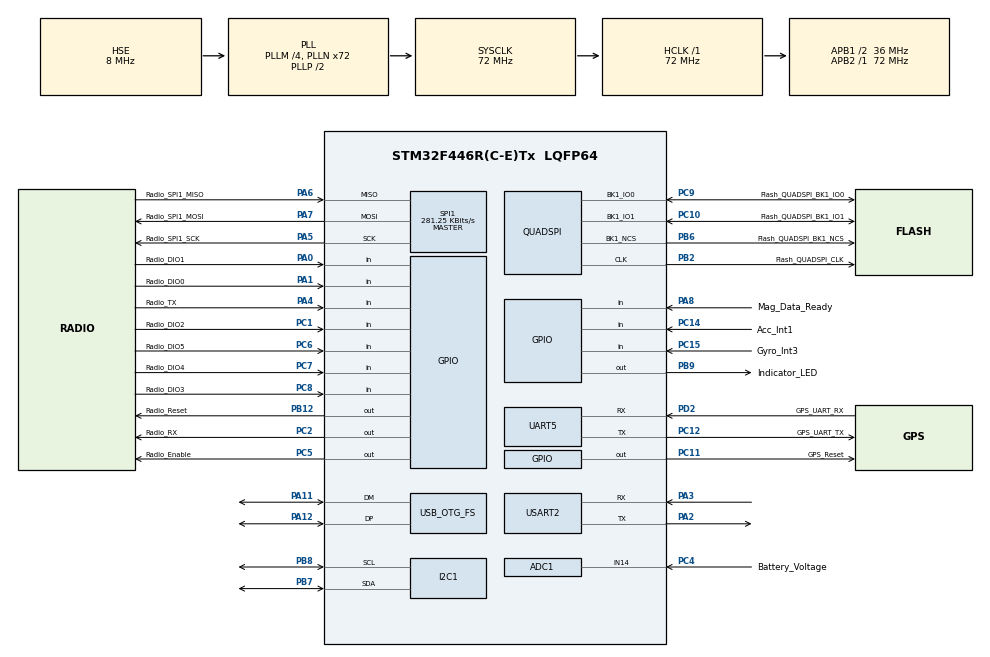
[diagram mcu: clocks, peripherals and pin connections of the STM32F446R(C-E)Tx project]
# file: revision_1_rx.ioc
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ADC1.Channel-0\#ChannelRegularConversion=ADC_CHANNEL_14
ADC1.NbrOfConversionFlag=1
ADC1.Rank-0\#ChannelRegularConversion=1
ADC1.SamplingTime-0\#ChannelRegularConversion=ADC_SAMPLETIME_3CYCLES
ADC1.master=1
Mcu.Family=STM32F4
Mcu.Name=STM32F446R(C-E)Tx
Mcu.Package=LQFP64
NVIC.OTG_FS_IRQn=true\:0\:0\:false\:false\:true\:false\:true\:true
NVIC.PriorityGroup=NVIC_PRIORITYGROUP_4
PA0-WKUP.GPIO_Label=Radio_DIO1
PA0-WKUP.Signal=GPIO_Input
PA1.GPIO_Label=Radio_DIO0
PA1.Signal=GPIO_Input
PA11.Mode=Device_Only
PA11.Signal=USB_OTG_FS_DM
PA12.Mode=Device_Only
PA12.Signal=USB_OTG_FS_DP
PA13.Mode=Trace_Asynchronous_SW
PA13.Signal=SYS_JTMS-SWDIO
PA14.Mode=Trace_Asynchronous_SW
PA14.Signal=SYS_JTCK-SWCLK
PA2.Mode=Asynchronous
PA2.Signal=USART2_TX
PA3.Mode=Asynchronous
PA3.Signal=USART2_RX
PA4.GPIO_Label=Radio_TX
PA4.Signal=GPIO_Input
PA5.GPIO_Label=Radio_SPI1_SCK
PA5.Mode=Full_Duplex_Master
PA5.Signal=SPI1_SCK
PA6.GPIO_Label=Radio_SPI1_MISO
PA6.Mode=Full_Duplex_Master
PA6.Signal=SPI1_MISO
PA7.GPIO_Label=Radio_SPI1_MOSI
PA7.Mode=Full_Duplex_Master
PA7.Signal=SPI1_MOSI
PA8.GPIO_Label=Mag_Data_Ready
PA8.Signal=GPIO_Input
PB12.GPIO_Label=Radio_Reset
PB12.Signal=GPIO_Output
PB2.GPIO_Label=Flash_QUADSPI_CLK
PB2.Mode=Single Bank 1 2IOs
PB2.Signal=QUADSPI_CLK
PB3.Mode=Trace_Asynchronous_SW
PB3.Signal=SYS_JTDO-SWO
PB6.GPIO_Label=Flash_QUADSPI_BK1_NCS
PB6.Mode=Single Bank 1 2IOs
PB6.Signal=QUADSPI_BK1_NCS
PB7.Mode=I2C
PB7.Signal=I2C1_SDA
PB8.Mode=I2C
PB8.Signal=I2C1_SCL
PB9.GPIO_Label=Indicator_LED
PB9.Signal=GPIO_Output
PC1.GPIO_Label=Radio_DIO2
PC1.Signal=GPIO_Input
PC10.GPIO_Label=Flash_QUADSPI_BK1_IO1
PC10.Mode=Single Bank 1 2IOs
PC10.Signal=QUADSPI_BK1_IO1
PC11.GPIO_Label=GPS_Reset
PC11.Signal=GPIO_Output
PC12.GPIO_Label=GPS_UART_TX
PC12.Mode=Asynchronous
PC12.Signal=UART5_TX
PC14-OSC32_IN.GPIO_Label=Acc_Int1
PC14-OSC32_IN.Signal=GPIO_Input
PC15-OSC32_OUT.GPIO_Label=Gyro_Int3
PC15-OSC32_OUT.Signal=GPIO_Input
PC2.GPIO_Label=Radio_RX
PC2.Signal=GPIO_Output
PC4.GPIO_Label=Battery_Voltage
PC4.Signal=ADCx_IN14
PC5.GPIO_Label=Radio_Enable
PC5.GPIO_PuPd=GPIO_NOPULL
PC5.PinState=GPIO_PIN_RESET
PC5.Signal=GPIO_Output
PC6.GPIO_Label=Radio_DIO5
PC6.Signal=GPIO_Input
PC7.GPIO_Label=Radio_DIO4
PC7.Signal=GPIO_Input
PC8.GPIO_Label=Radio_DIO3
PC8.Signal=GPIO_Input
PC9.GPIO_Label=Flash_QUADSPI_BK1_IO0
PC9.Mode=Single Bank 1 2IOs
PC9.Signal=QUADSPI_BK1_IO0
PD2.GPIO_Label=GPS_UART_RX
PD2.Mode=Asynchronous
PD2.Signal=UART5_RX
PH0-OSC_IN.Mode=HSE-External-Oscillator
PH0-OSC_IN.Signal=RCC_OSC_IN
PH1-OSC_OUT.Mode=HSE-External-Oscillator
PH1-OSC_OUT.Signal=RCC_OSC_OUT
ProjectManager.HeapSize=0x200
ProjectManager.StackSize=0x400
ProjectManager.TargetToolchain=STM32CubeIDE
QUADSPI.FifoThreshold=1
QUADSPI.FlashSize=24
RCC.AHBFreq_Value=72000000
RCC.APB1CLKDivider=RCC_HCLK_DIV2
RCC.APB1Freq_Value=36000000
RCC.APB1TimFreq_Value=72000000
RCC.APB2Freq_Value=72000000
RCC.APB2TimFreq_Value=72000000
RCC.CortexFreq_Value=72000000
RCC.HCLKFreq_Value=72000000
RCC.HSE_VALUE=8000000
RCC.PLLM=4
RCC.PLLN=72
RCC.PLLQ=3
RCC.PLLSourceVirtual=RCC_PLLSOURCE_HSE
RCC.SYSCLKFreq_VALUE=72000000
RCC.SYSCLKSource=RCC_SYSCLKSOURCE_PLLCLK
RCC.USBFreq_Value=48000000
RCC.VCOOutputFreq_Value=144000000
SH.ADCx_IN14.0=ADC1_IN14,IN14
SPI1.BaudRatePrescaler=SPI_BAUDRATEPRESCALER_256
SPI1.CalculateBaudRate=281.25 KBits/s
SPI1.Direction=SPI_DIRECTION_2LINES
SPI1.Mode=SPI_MODE_MASTER
SPI1.VirtualType=VM_MASTER
UART5.VirtualMode=Asynchronous
USART2.VirtualMode=VM_ASYNC
USB_DEVICE.CLASS_NAME_FS=CDC
USB_DEVICE.VirtualMode-CDC_FS=Cdc
USB_DEVICE.VirtualModeFS=Cdc_FS
USB_OTG_FS.VirtualMode=Device_Only
VP_USB_DEVICE_VS_USB_DEVICE_CDC_FS.Mode=CDC_FS
board=custom

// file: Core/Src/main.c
/* USER CODE BEGIN Header */
/**
  ******************************************************************************
  * @file           : main.c
  * @brief          : Main program body
  ******************************************************************************
  * @attention
  *
  * Copyright (c) 2023 STMicroelectronics.
  * All rights reserved.
  *
  * This software is licensed under terms that can be found in the LICENSE file
  * in the root directory of this software component.
  * If no LICENSE file comes with this software, it is provided AS-IS.
  *
  ******************************************************************************
  */
/* USER CODE END Header */
#include "main.h"
#include "usb_device.h"

/* USER CODE BEGIN Includes */
#include "stdio.h"
#include "stdlib.h"
#include "stdint.h"
#include "usbd_cdc_if.h"
#include "sx1272.h"
/* USER CODE END Includes */

ADC_HandleTypeDef hadc1;

I2C_HandleTypeDef hi2c1;

QSPI_HandleTypeDef hqspi;

SPI_HandleTypeDef hspi1;

UART_HandleTypeDef huart5;
UART_HandleTypeDef huart2;

void SystemClock_Config(void);
static void MX_GPIO_Init(void);
static void MX_QUADSPI_Init(void);
static void MX_I2C1_Init(void);
static void MX_SPI1_Init(void);
static void MX_ADC1_Init(void);
static void MX_UART5_Init(void);
static void MX_USART2_UART_Init(void);

/* USER CODE BEGIN 0 */
sx1272_t sx;
sx_gpio_t sx_cs_gpio, sx_tx_gpio, sx_rx_gpio;
uint8_t buf[256] = {};
int _write(int32_t file, uint8_t *ptr, int32_t len)
{
    for (int i = 0; i < len; i++)
    {
        ITM_SendChar(*ptr++);
    }
    return len;
}
/* USER CODE END 0 */

int main(void)
{

  /* MCU Configuration--------------------------------------------------------*/

  /* Reset of all peripherals, Initializes the Flash interface and the Systick. */
  HAL_Init();

  /* Configure the system clock */
  SystemClock_Config();

  /* Initialize all configured peripherals */
  MX_GPIO_Init();
  MX_QUADSPI_Init();
  MX_I2C1_Init();
  MX_SPI1_Init();
  MX_ADC1_Init();
  MX_UART5_Init();
  MX_USB_DEVICE_Init();
  MX_USART2_UART_Init();
  /* USER CODE BEGIN 2 */

	//HAL_GPIO_WritePin(Radio_Enable_GPIO_Port, Radio_Enable_Pin, SET);
  sx_cs_gpio = (sx_gpio_t) {
		.port = Radio_Enable_GPIO_Port,
		.pin = Radio_Enable_Pin,
	};

	sx_tx_gpio = (sx_gpio_t) {
		.port = Radio_TX_GPIO_Port,
		.pin = Radio_TX_Pin,
	};

	sx_rx_gpio = (sx_gpio_t) {
		.port = Radio_RX_GPIO_Port,
		.pin = Radio_RX_Pin,
	};

	// Init device structure

	sx = (sx1272_t) {
			.spi = &hspi1,
			.cs_gpio = &sx_cs_gpio,
			.tx_gpio = &sx_tx_gpio,
			.rx_gpio = &sx_rx_gpio,
			.packet_length = 16,
	};

	/*printf("tx (1), rx (2), tx_no_crc (3), echo_src (4), echo_wall (5) ? ");
	fflush(stdout);*/
	int status = sx1272_common_init(&sx, false);
  /* USER CODE END 2 */

  /* Infinite loop */
  /* USER CODE BEGIN WHILE */
  char test_message1[50];
  char test_message2[50];
  char test_message3[50];
  char test_message4[50];
  char uart_buffer[100]; //Data to send
  while (1)
  {
    /* USER CODE END WHILE */

    /* USER CODE BEGIN 3 */

//	// Buzzer ON
//	HAL_GPIO_WritePin(GPIOA, GPIO_PIN_3, GPIO_PIN_SET);
//	HAL_Delay(1);
//	// Buzzer OFF
//	HAL_GPIO_WritePin(GPIOA, GPIO_PIN_3, GPIO_PIN_RESET);
//	HAL_Delay(1);
	int ret = sx1272_receive_continuous(&sx, buf, true);

	//HAL_GPIO_WritePin(LD2_GPIO_Port, LD2_Pin, 0);
	//sprintf(test_message1, "RX status: %d\r\n", ret);
	//CDC_Transmit_FS((uint8_t*) test_message1, strlen(test_message1));
	//printf("RX status: %d\r\n", ret);
	sprintf(uart_buffer, "RX status: %d\r\n", ret);
	HAL_UART_Transmit(&huart2, (uint8_t*) uart_buffer,strlen(uart_buffer),10);// Sending in normal mode

	sprintf(uart_buffer, "BUF 0: %d\r\n", ret);
	HAL_UART_Transmit(&huart2, (uint8_t*) uart_buffer,strlen(uart_buffer),10);// Sending in normal mode

//	printf("Counter: %x\n\r", counter);
//	printf("Latitude: %x (%f)\n\r", latitude, latitudeFloat);
//	printf("Longitude: %x (%f)\n\r", longitude, longitudeFloat);
//	printf("Datetime: %x (%f)\n\r", datetime, datetimeFloat);
	//sprintf(uart_buffer, "ID: %x\r\n", buf[0]);
	//HAL_UART_Transmit(&huart2, (uint8_t*) uart_buffer,strlen(uart_buffer),10);// Sending in normal mode
	if (buf[0] == 0x10){

	unsigned int latitude = (buf[7] << 24) | (buf[6] << 16) | (buf[5] << 8) | buf[4];
	unsigned int longitude = (buf[11] << 24) | (buf[10] << 16) | (buf[9] << 8) | buf[8];
	unsigned int datetime = (buf[15] << 24) | (buf[14] << 16) | (buf[13] << 8) | buf[12];
	float latitudeFloat = *(float*)&latitude;
	float longitudeFloat = *(float*)&longitude;
	float datetimeFloat = *(float*)&datetime;

	sprintf(uart_buffer, "Latitude: %f\r\n", latitudeFloat);
	HAL_UART_Transmit(&huart2, (uint8_t*) uart_buffer,strlen(uart_buffer),10);// Sending in normal mode
	sprintf(uart_buffer, "Longitude: %f\r\n", longitudeFloat);
	HAL_UART_Transmit(&huart2, (uint8_t*) uart_buffer,strlen(uart_buffer),10);// Sending in normal mode
	sprintf(uart_buffer, "Datetime: %f\r\n", datetimeFloat);
	HAL_UART_Transmit(&huart2, (uint8_t*) uart_buffer,strlen(uart_buffer),10);// Sending in normal mode
	}
	else if (buf[0] == 0x20) {

	unsigned int temperature = (buf[7] << 24) | (buf[6] << 16) | (buf[5] << 8) | buf[4];
	unsigned int humidity = (buf[11] << 24) | (buf[10] << 16) | (buf[9] << 8) | buf[8];
	unsigned int pressure = (buf[15] << 24) | (buf[14] << 16) | (buf[13] << 8) | buf[12];
	float temperatureFloat = *(float*)&temperature;
	float humidityFloat = *(float*)&humidity;
	float pressureFloat = *(float*)&pressure;

	sprintf(uart_buffer, "Temperature: %f\r\n", temperatureFloat);
	HAL_UART_Transmit(&huart2, (uint8_t*) uart_buffer,strlen(uart_buffer),10);// Sending in normal mode
	sprintf(uart_buffer, "Humidity: %f\r\n", humidityFloat);
	HAL_UART_Transmit(&huart2, (uint8_t*) uart_buffer,strlen(uart_buffer),10);// Sending in normal mode
	sprintf(uart_buffer, "Pressure: %f\r\n", pressureFloat);
	HAL_UART_Transmit(&huart2, (uint8_t*) uart_buffer,strlen(uart_buffer),10);// Sending in normal mode
	}
	else if (buf[0] == 0x30) {

	unsigned int ax = (buf[7] << 24) | (buf[6] << 16) | (buf[5] << 8) | buf[4];
	unsigned int ay = (buf[11] << 24) | (buf[10] << 16) | (buf[9] << 8) | buf[8];
	unsigned int az = (buf[15] << 24) | (buf[14] << 16) | (buf[13] << 8) | buf[12];

	float axFloat = *(float*)&ax;
	float ayFloat = *(float*)&ay;
	float azFloat = *(float*)&az;

	sprintf(uart_buffer, "Ax: %f\r\n", axFloat);
	HAL_UART_Transmit(&huart2, (uint8_t*) uart_buffer,strlen(uart_buffer),10);
	sprintf(uart_buffer, "Ay: %f\r\n", ayFloat);
	HAL_UART_Transmit(&huart2, (uint8_t*) uart_buffer,strlen(uart_buffer),10);
	sprintf(uart_buffer, "Az: %f\r\n", azFloat);
	HAL_UART_Transmit(&huart2, (uint8_t*) uart_buffer,strlen(uart_buffer),10);
	}
	else if (buf[0] == 0x40) {

	unsigned int gx = (buf[7] << 24) | (buf[6] << 16) | (buf[5] << 8) | buf[4];
	unsigned int gy = (buf[11] << 24) | (buf[10] << 16) | (buf[9] << 8) | buf[8];
	unsigned int gz = (buf[15] << 24) | (buf[14] << 16) | (buf[13] << 8) | buf[12];

	float gxFloat = *(float*)&gx;
	float gyFloat = *(float*)&gy;
	float gzFloat = *(float*)&gz;

	sprintf(uart_buffer, "Gx: %f\r\n", gxFloat);
	HAL_UART_Transmit(&huart2, (uint8_t*) uart_buffer,strlen(uart_buffer),10);
	sprintf(uart_buffer, "Gy: %f\r\n", gyFloat);
	HAL_UART_Transmit(&huart2, (uint8_t*) uart_buffer,strlen(uart_buffer),10);
	sprintf(uart_buffer, "Gz: %f\r\n", gzFloat);
	HAL_UART_Transmit(&huart2, (uint8_t*) uart_buffer,strlen(uart_buffer),10);
	}
	//sprintf(test_message2, "Counter");
	//CDC_Transmit_FS((uint8_t*) test_message2, strlen(test_message2));

	int current_rssi = sx1272_current_rssi(&sx);
	int current_snr = sx1272_packet_snr(&sx);

//	sprintf(test_message3, "RSSI: %d\n\r", current_rssi);
//	CDC_Transmit_FS((uint8_t*) test_message3, strlen(test_message3));
//	sprintf(test_message4, "SNR: %d\n\r", current_snr);
//	CDC_Transmit_FS((uint8_t*) test_message4, strlen(test_message4));

	//printf("RSSI: %d\n\r", current_rssi);
	//printf("SNR: %d\n\r", current_snr);

	sprintf(uart_buffer, "RSSI: %d\r\n", current_rssi);
	HAL_UART_Transmit(&huart2, (uint8_t*) uart_buffer,strlen(uart_buffer),10);// Sending in normal mode
	sprintf(uart_buffer, "SNR: %d\r\n", current_snr);
	HAL_UART_Transmit(&huart2, (uint8_t*) uart_buffer,strlen(uart_buffer),10);// Sending in normal mode

	memset(buf, 0, 16);
	HAL_Delay(100);
  }
  /* USER CODE END 3 */
}

void SystemClock_Config(void)
{
  RCC_OscInitTypeDef RCC_OscInitStruct = {0};
  RCC_ClkInitTypeDef RCC_ClkInitStruct = {0};

  /** Configure the main internal regulator output voltage
  */
  __HAL_RCC_PWR_CLK_ENABLE();
  __HAL_PWR_VOLTAGESCALING_CONFIG(PWR_REGULATOR_VOLTAGE_SCALE3);

  /** Initializes the RCC Oscillators according to the specified parameters
  * in the RCC_OscInitTypeDef structure.
  */
  RCC_OscInitStruct.OscillatorType = RCC_OSCILLATORTYPE_HSE;
  RCC_OscInitStruct.HSEState = RCC_HSE_ON;
  RCC_OscInitStruct.PLL.PLLState = RCC_PLL_ON;
  RCC_OscInitStruct.PLL.PLLSource = RCC_PLLSOURCE_HSE;
  RCC_OscInitStruct.PLL.PLLM = 4;
  RCC_OscInitStruct.PLL.PLLN = 72;
  RCC_OscInitStruct.PLL.PLLP = RCC_PLLP_DIV2;
  RCC_OscInitStruct.PLL.PLLQ = 3;
  RCC_OscInitStruct.PLL.PLLR = 2;
  if (HAL_RCC_OscConfig(&RCC_OscInitStruct) != HAL_OK)
  {
    Error_Handler();
  }

  /** Initializes the CPU, AHB and APB buses clocks
  */
  RCC_ClkInitStruct.ClockType = RCC_CLOCKTYPE_HCLK|RCC_CLOCKTYPE_SYSCLK
                              |RCC_CLOCKTYPE_PCLK1|RCC_CLOCKTYPE_PCLK2;
  RCC_ClkInitStruct.SYSCLKSource = RCC_SYSCLKSOURCE_PLLCLK;
  RCC_ClkInitStruct.AHBCLKDivider = RCC_SYSCLK_DIV1;
  RCC_ClkInitStruct.APB1CLKDivider = RCC_HCLK_DIV2;
  RCC_ClkInitStruct.APB2CLKDivider = RCC_HCLK_DIV1;

  if (HAL_RCC_ClockConfig(&RCC_ClkInitStruct, FLASH_LATENCY_2) != HAL_OK)
  {
    Error_Handler();
  }
}

static void MX_ADC1_Init(void)
{

  ADC_ChannelConfTypeDef sConfig = {0};

  /** Configure the global features of the ADC (Clock, Resolution, Data Alignment and number of conversion)
  */
  hadc1.Instance = ADC1;
  hadc1.Init.ClockPrescaler = ADC_CLOCK_SYNC_PCLK_DIV2;
  hadc1.Init.Resolution = ADC_RESOLUTION_12B;
  hadc1.Init.ScanConvMode = DISABLE;
  hadc1.Init.ContinuousConvMode = DISABLE;
  hadc1.Init.DiscontinuousConvMode = DISABLE;
  hadc1.Init.ExternalTrigConvEdge = ADC_EXTERNALTRIGCONVEDGE_NONE;
  hadc1.Init.ExternalTrigConv = ADC_SOFTWARE_START;
  hadc1.Init.DataAlign = ADC_DATAALIGN_RIGHT;
  hadc1.Init.NbrOfConversion = 1;
  hadc1.Init.DMAContinuousRequests = DISABLE;
  hadc1.Init.EOCSelection = ADC_EOC_SINGLE_CONV;
  if (HAL_ADC_Init(&hadc1) != HAL_OK)
  {
    Error_Handler();
  }

  /** Configure for the selected ADC regular channel its corresponding rank in the sequencer and its sample time.
  */
  sConfig.Channel = ADC_CHANNEL_14;
  sConfig.Rank = 1;
  sConfig.SamplingTime = ADC_SAMPLETIME_3CYCLES;
  if (HAL_ADC_ConfigChannel(&hadc1, &sConfig) != HAL_OK)
  {
    Error_Handler();
  }

}

static void MX_I2C1_Init(void)
{

  hi2c1.Instance = I2C1;
  hi2c1.Init.ClockSpeed = 100000;
  hi2c1.Init.DutyCycle = I2C_DUTYCYCLE_2;
  hi2c1.Init.OwnAddress1 = 0;
  hi2c1.Init.AddressingMode = I2C_ADDRESSINGMODE_7BIT;
  hi2c1.Init.DualAddressMode = I2C_DUALADDRESS_DISABLE;
  hi2c1.Init.OwnAddress2 = 0;
  hi2c1.Init.GeneralCallMode = I2C_GENERALCALL_DISABLE;
  hi2c1.Init.NoStretchMode = I2C_NOSTRETCH_DISABLE;
  if (HAL_I2C_Init(&hi2c1) != HAL_OK)
  {
    Error_Handler();
  }

}

static void MX_QUADSPI_Init(void)
{

  /* QUADSPI parameter configuration*/
  hqspi.Instance = QUADSPI;
  hqspi.Init.ClockPrescaler = 255;
  hqspi.Init.FifoThreshold = 1;
  hqspi.Init.SampleShifting = QSPI_SAMPLE_SHIFTING_NONE;
  hqspi.Init.FlashSize = 24;
  hqspi.Init.ChipSelectHighTime = QSPI_CS_HIGH_TIME_1_CYCLE;
  hqspi.Init.ClockMode = QSPI_CLOCK_MODE_0;
  hqspi.Init.FlashID = QSPI_FLASH_ID_1;
  hqspi.Init.DualFlash = QSPI_DUALFLASH_DISABLE;
  if (HAL_QSPI_Init(&hqspi) != HAL_OK)
  {
    Error_Handler();
  }

}

static void MX_SPI1_Init(void)
{

  /* SPI1 parameter configuration*/
  hspi1.Instance = SPI1;
  hspi1.Init.Mode = SPI_MODE_MASTER;
  hspi1.Init.Direction = SPI_DIRECTION_2LINES;
  hspi1.Init.DataSize = SPI_DATASIZE_8BIT;
  hspi1.Init.CLKPolarity = SPI_POLARITY_LOW;
  hspi1.Init.CLKPhase = SPI_PHASE_1EDGE;
  hspi1.Init.NSS = SPI_NSS_SOFT;
  hspi1.Init.BaudRatePrescaler = SPI_BAUDRATEPRESCALER_256;
  hspi1.Init.FirstBit = SPI_FIRSTBIT_MSB;
  hspi1.Init.TIMode = SPI_TIMODE_DISABLE;
  hspi1.Init.CRCCalculation = SPI_CRCCALCULATION_DISABLE;
  hspi1.Init.CRCPolynomial = 10;
  if (HAL_SPI_Init(&hspi1) != HAL_OK)
  {
    Error_Handler();
  }

}

static void MX_UART5_Init(void)
{

  huart5.Instance = UART5;
  huart5.Init.BaudRate = 115200;
  huart5.Init.WordLength = UART_WORDLENGTH_8B;
  huart5.Init.StopBits = UART_STOPBITS_1;
  huart5.Init.Parity = UART_PARITY_NONE;
  huart5.Init.Mode = UART_MODE_TX_RX;
  huart5.Init.HwFlowCtl = UART_HWCONTROL_NONE;
  huart5.Init.OverSampling = UART_OVERSAMPLING_16;
  if (HAL_UART_Init(&huart5) != HAL_OK)
  {
    Error_Handler();
  }

}

static void MX_USART2_UART_Init(void)
{

  huart2.Instance = USART2;
  huart2.Init.BaudRate = 115200;
  huart2.Init.WordLength = UART_WORDLENGTH_8B;
  huart2.Init.StopBits = UART_STOPBITS_1;
  huart2.Init.Parity = UART_PARITY_NONE;
  huart2.Init.Mode = UART_MODE_TX_RX;
  huart2.Init.HwFlowCtl = UART_HWCONTROL_NONE;
  huart2.Init.OverSampling = UART_OVERSAMPLING_16;
  if (HAL_UART_Init(&huart2) != HAL_OK)
  {
    Error_Handler();
  }

}

static void MX_GPIO_Init(void)
{
  GPIO_InitTypeDef GPIO_InitStruct = {0};

  /* GPIO Ports Clock Enable */
  __HAL_RCC_GPIOC_CLK_ENABLE();
  __HAL_RCC_GPIOH_CLK_ENABLE();
  __HAL_RCC_GPIOA_CLK_ENABLE();
  __HAL_RCC_GPIOB_CLK_ENABLE();
  __HAL_RCC_GPIOD_CLK_ENABLE();

  /*Configure GPIO pin Output Level */
  HAL_GPIO_WritePin(GPIOC, Radio_RX_Pin|Radio_Enable_Pin|GPS_Reset_Pin, GPIO_PIN_RESET);

  /*Configure GPIO pin Output Level */
  HAL_GPIO_WritePin(GPIOB, Radio_Reset_Pin|Indicator_LED_Pin, GPIO_PIN_RESET);

  /*Configure GPIO pins : Acc_Int1_Pin Gyro_Int3_Pin Radio_DIO2_Pin Radio_DIO5_Pin
                           Radio_DIO4_Pin Radio_DIO3_Pin */
  GPIO_InitStruct.Pin = Acc_Int1_Pin|Gyro_Int3_Pin|Radio_DIO2_Pin|Radio_DIO5_Pin
                          |Radio_DIO4_Pin|Radio_DIO3_Pin;
  GPIO_InitStruct.Mode = GPIO_MODE_INPUT;
  GPIO_InitStruct.Pull = GPIO_NOPULL;
  HAL_GPIO_Init(GPIOC, &GPIO_InitStruct);

  /*Configure GPIO pins : Radio_RX_Pin Radio_Enable_Pin GPS_Reset_Pin */
  GPIO_InitStruct.Pin = Radio_RX_Pin|Radio_Enable_Pin|GPS_Reset_Pin;
  GPIO_InitStruct.Mode = GPIO_MODE_OUTPUT_PP;
  GPIO_InitStruct.Pull = GPIO_NOPULL;
  GPIO_InitStruct.Speed = GPIO_SPEED_FREQ_LOW;
  HAL_GPIO_Init(GPIOC, &GPIO_InitStruct);

  /*Configure GPIO pins : Radio_DIO1_Pin Radio_DIO0_Pin Radio_TX_Pin Mag_Data_Ready_Pin */
  GPIO_InitStruct.Pin = Radio_DIO1_Pin|Radio_DIO0_Pin|Radio_TX_Pin|Mag_Data_Ready_Pin;
  GPIO_InitStruct.Mode = GPIO_MODE_INPUT;
  GPIO_InitStruct.Pull = GPIO_NOPULL;
  HAL_GPIO_Init(GPIOA, &GPIO_InitStruct);

  /*Configure GPIO pins : Radio_Reset_Pin Indicator_LED_Pin */
  GPIO_InitStruct.Pin = Radio_Reset_Pin|Indicator_LED_Pin;
  GPIO_InitStruct.Mode = GPIO_MODE_OUTPUT_PP;
  GPIO_InitStruct.Pull = GPIO_NOPULL;
  GPIO_InitStruct.Speed = GPIO_SPEED_FREQ_LOW;
  HAL_GPIO_Init(GPIOB, &GPIO_InitStruct);

}

void Error_Handler(void)
{
  __disable_irq();
  while (1)
  {
  }
}
